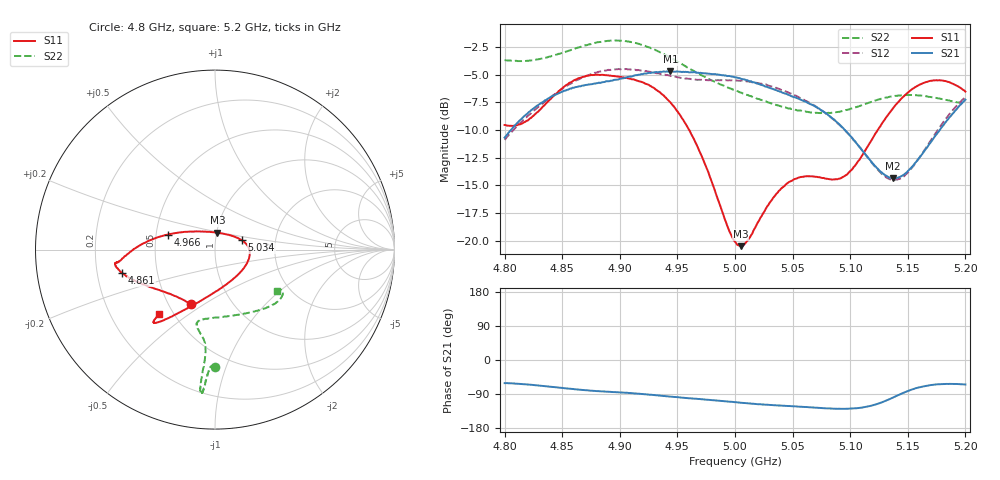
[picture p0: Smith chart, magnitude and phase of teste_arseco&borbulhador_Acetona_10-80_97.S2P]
! Network Analyzer HP8722D
! Hewlett-Packard
! Data name: Linha & Wilkinson
! Saver's name: Rodrigo Anjos
! Comments: Teste da utilização de aquisição
! continua pelo VNA HP8722D
! Time and date: 17/4/2025 15:10
!  Frequency  S11  S21  S12  S22
# HZ  S  MA R 50
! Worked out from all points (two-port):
!   401 points, 4.8 GHz to 5.2 GHz, reference 50 ohm
!   highest |S21| = -4.68 dB at 4.944 GHz (marker M1); lowest = -14.4 dB at 5.137 GHz (marker M2)
!   |S21| within 3 dB of the highest: 4.83 GHz to 5.066 GHz (236.5 MHz wide, 4.78 % of centre); 5.195992 GHz to end of sweep
!   lowest |S11| = -20.5 dB at 5.005 GHz (marker M3), VSWR 1.21, Z = 50.5 + j9.53 ohm
!   |S11| at or under -10 dB: 4.96 GHz to 5.124 GHz (163.6 MHz wide, 3.24 % of centre)
!   |S22| runs from -8.5 to -1.9 dB; largest |S21 - S12| = 0.88
!   S11 on the Smith chart (normalised r, x): 4.8 GHz: 0.64, -0.44; 4.861 GHz: 0.31, -0.11; 4.966 GHz: 0.58, +0.10; 5.034 GHz: 1.34, +0.14; 5.2 GHz: 0.42, -0.39
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4.8e9  0.3336 -113.9  0.2926 -61.1  0.2859 -175.1  0.6553 -90.1
4.819e9  0.3481 -133.8  0.3732 -64.3  0.3616 -173.9  0.651 -91.8
4.861e9  0.5331 -165.8  0.494 -77.3  0.5268 -177.1  0.7386 -94.1
4.867e9  0.5481 -168.1  0.502 -79.1  0.5455 -178.1  0.7572 -94.2
4.902e9  0.5473 -172.7  0.5413 -85.8  0.5977 174.6  0.8002 -95.7
4.934e9  0.4722 -178.5  0.5788 -93.9  0.5707 171.4  0.7152 -95.9
4.944e9  0.4216 176.9  0.5833 -96.5  0.5551 171.6  0.6725 -95.7
4.966e9  0.276 162.3  0.5764 -102.3  0.5352 173.5  0.5779 -95.3
5e9  0.09907 99.8  0.5482 -111.4  0.531 176.0  0.4778 -99.2
5.005e9  0.09454 81.9  0.5402 -112.8  0.5282 176.0  0.4671 -100.5
5.013e9  0.1037 56.1  0.5264 -114.7  0.5222 175.5  0.4515 -102.1
5.034e9  0.1582 19.1  0.4828 -119.3  0.4949 174.4  0.4139 -103.5
5.049e9  0.1863 4.0  0.45 -121.8  0.4617 174.0  0.3938 -99.9
5.067e9  0.1957 -15.0  0.4114 -125.2  0.4142 173.4  0.3794 -90.4
5.087e9  0.1894 -47.3  0.3486 -128.5  0.348 173.7  0.3809 -75.2
5.097e9  0.1987 -67.7  0.3099 -128.7  0.3104 174.6  0.3901 -67.1
5.134e9  0.378 -117.1  0.1932 -103.5  0.19 -156.3  0.4473 -43.0
5.137e9  0.3963 -118.9  0.1913 -99.4  0.1886 -151.7  0.4504 -41.7
5.148e9  0.4581 -124.0  0.2017 -84.4  0.1988 -134.5  0.4558 -37.4
5.168e9  0.5255 -129.0  0.2704 -67.3  0.2739 -113.5  0.4471 -32.4
5.184e9  0.5242 -130.6  0.3497 -63.1  0.3617 -107.4  0.4323 -31.1
5.2e9  0.4721 -130.9  0.434 -64.7  0.4461 -106.8  0.4155 -33.5
